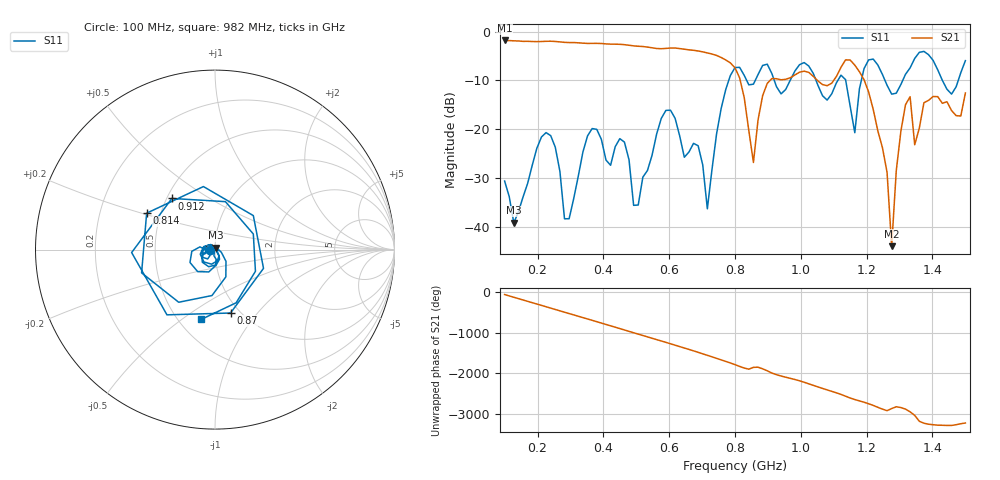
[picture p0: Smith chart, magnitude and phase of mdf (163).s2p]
! NanoVNA-App
! Date: 2025-09-26 09:41:00
! Start: 100MHz Stop: 1,5GHz Points: 101
! S-Parameter data: F S11 S21 S12 S22
# Hz S RI R 50
!  Frequency  S11_Real  S11_Imag  S21_Real  S21_Imag  S12_Real  S12_Imag  S22_Real  S22_Imag
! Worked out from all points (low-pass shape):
!   101 points, 100 MHz to 1.5 GHz, reference 50 ohm
!   highest |S21| = -1.79 dB at 100 MHz (marker M1); lowest = -44.0 dB at 1.276 GHz (marker M2)
!   |S21| within 3 dB of the highest: start of sweep to 740.5 MHz
!   lowest |S11| = -39.2 dB at 128 MHz (marker M3), VSWR 1.02, Z = 50.3 + j1.07 ohm
!   |S11| at or under -10 dB: start of sweep to 780.9 MHz; 1.046 GHz to 1.112 GHz (66.11 MHz wide, 6.13 % of centre); 1.256 GHz to 1.31 GHz (53.71 MHz wide, 4.19 % of centre) (the widest 3 of 7)
!   S12 and S22 are empty: the file has one direction only
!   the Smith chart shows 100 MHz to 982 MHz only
!   S11 on the Smith chart (normalised r, x): 100 MHz: 0.94, -0.01; 814 MHz: 0.42, +0.21; 870 MHz: 0.90, -0.74; 912 MHz: 0.53, +0.35; 982 MHz: 0.65, -0.59
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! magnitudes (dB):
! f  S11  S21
! 100 MHz  -30.6  -1.8
! 128 MHz  -39.2  -1.9
! 212 MHz  -21.6  -2.0
! 282 MHz  -38.4  -2.2
! 338 MHz  -24.6  -2.3
! 464 MHz  -22.6  -2.6
! 506 MHz  -35.5  -3.0
! 576 MHz  -17.8  -3.5
! 716 MHz  -36.3  -4.3
! 800 MHz  -7.3  -7.4
! 814 MHz  -7.3  -9.5
! 856 MHz  -10.8  -26.8
! 870 MHz  -8.8  -18.1
! 912 MHz  -8.6  -9.6
! 982 MHz  -8.1  -8.9
! 1.038 GHz  -8.6  -9.2
! 1.164 GHz  -20.7  -6.9
! 1.192 GHz  -7.6  -9.8
! 1.262 GHz  -11.0  -28.8
! 1.276 GHz  -12.8  -44.0
! 1.318 GHz  -8.7  -15.0
! 1.5 GHz  -5.9  -12.6
